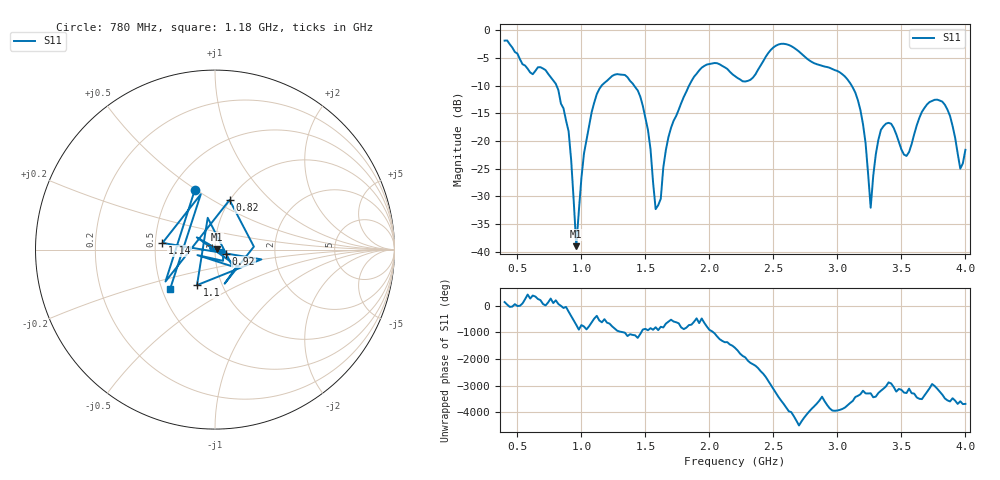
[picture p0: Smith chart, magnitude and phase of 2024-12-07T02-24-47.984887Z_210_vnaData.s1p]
!Created with skrf (http://scikit-rf.org).
# Hz S RI R 50.0
!freq ReS11 ImS11
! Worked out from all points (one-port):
!   181 points, 400 MHz to 4 GHz, reference 50 ohm
!   lowest |S11| = -39.0 dB at 960 MHz (marker M1), VSWR 1.02, Z = 51.1 + j0.144 ohm
!   |S11| at or under -10 dB: 805.6 MHz to 1.158 GHz (352.5 MHz wide, 35.9 % of centre); 1.412 GHz to 1.841 GHz (429.5 MHz wide, 26.4 % of centre); 3.111 GHz to end of sweep
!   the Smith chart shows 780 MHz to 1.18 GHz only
!   S11 on the Smith chart (normalised r, x): 780 MHz: 0.65, +0.49; 820 MHz: 1.00, +0.60; 920 MHz: 1.13, -0.06; 1.1 GHz: 0.76, -0.32; 1.14 GHz: 0.55, +0.04; 1.18 GHz: 0.55, -0.27
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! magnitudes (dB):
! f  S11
! 400 MHz  -1.9
! 780 MHz  -9.1
! 820 MHz  -10.8
! 860 MHz  -14.1
! 920 MHz  -23.4
! 960 MHz  -39.0
! 1.02 GHz  -22.3
! 1.1 GHz  -13.1
! 1.14 GHz  -10.6
! 1.18 GHz  -9.5
! 1.3 GHz  -8.0
! 1.48 GHz  -13.7
! 1.54 GHz  -21.5
! 1.58 GHz  -32.3
! 1.68 GHz  -19.3
! 1.76 GHz  -14.4
! 1.96 GHz  -6.5
! 2.2 GHz  -8.3
! 2.66 GHz  -3.2
! 3.1 GHz  -9.6
! 3.2 GHz  -17.0
! 3.26 GHz  -32.0
! 3.34 GHz  -18.0
! 3.56 GHz  -22.0
! 3.78 GHz  -12.5
! 3.88 GHz  -15.5
! 3.96 GHz  -25.0
! 4 GHz  -21.6
